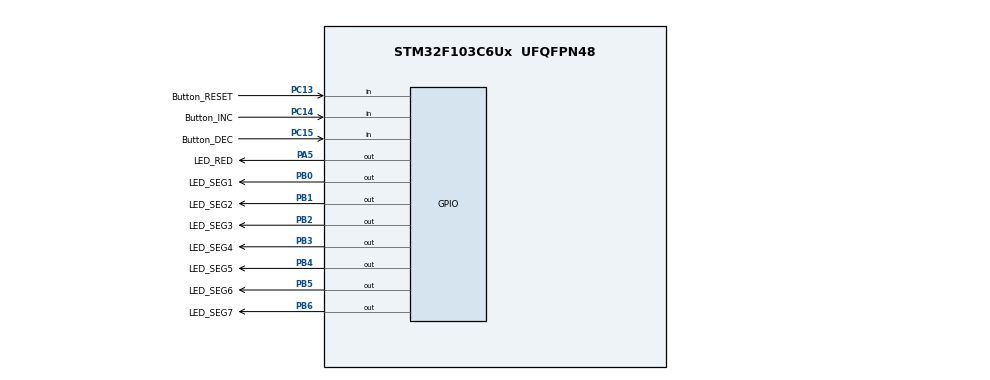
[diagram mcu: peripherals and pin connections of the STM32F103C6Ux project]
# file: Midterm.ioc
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Mcu.Family=STM32F1
Mcu.Name=STM32F103C6Ux
Mcu.Package=UFQFPN48
NVIC.PriorityGroup=NVIC_PRIORITYGROUP_4
NVIC.TIM2_IRQn=true\:0\:0\:false\:false\:true\:true\:true
PA5.GPIO_Label=LED_RED
PA5.Signal=GPIO_Output
PB0.GPIO_Label=LED_SEG1
PB0.Signal=GPIO_Output
PB1.GPIO_Label=LED_SEG2
PB1.Signal=GPIO_Output
PB2.GPIO_Label=LED_SEG3
PB2.Signal=GPIO_Output
PB3.GPIO_Label=LED_SEG4
PB3.Signal=GPIO_Output
PB4.GPIO_Label=LED_SEG5
PB4.Signal=GPIO_Output
PB5.GPIO_Label=LED_SEG6
PB5.Signal=GPIO_Output
PB6.GPIO_Label=LED_SEG7
PB6.Signal=GPIO_Output
PC13-TAMPER-RTC.GPIO_Label=Button_RESET
PC13-TAMPER-RTC.GPIO_PuPd=GPIO_PULLUP
PC13-TAMPER-RTC.Signal=GPIO_Input
PC14-OSC32_IN.GPIO_Label=Button_INC
PC14-OSC32_IN.GPIO_PuPd=GPIO_PULLUP
PC14-OSC32_IN.Signal=GPIO_Input
PC15-OSC32_OUT.GPIO_Label=Button_DEC
PC15-OSC32_OUT.GPIO_PuPd=GPIO_PULLUP
PC15-OSC32_OUT.Signal=GPIO_Input
ProjectManager.HeapSize=0x200
ProjectManager.StackSize=0x400
ProjectManager.TargetToolchain=STM32CubeIDE
RCC.APB1Freq_Value=8000000
RCC.APB2Freq_Value=8000000
TIM2.Period=9
TIM2.Prescaler=7999
VP_SYS_VS_ND.Mode=No_Debug
VP_TIM2_VS_ClockSourceINT.Mode=Internal
board=custom

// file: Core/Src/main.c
/* USER CODE BEGIN Header */
/**
  ******************************************************************************
  * @file           : main.c
  * @brief          : Main program body
  ******************************************************************************
  * @attention
  *
  * <h2><center>&copy; Copyright (c) 2022 STMicroelectronics.
  * All rights reserved.</center></h2>
  *
  * This software component is licensed by ST under BSD 3-Clause license,
  * the "License"; You may not use this file except in compliance with the
  * License. You may obtain a copy of the License at:
  *                        opensource.org/licenses/BSD-3-Clause
  *
  ******************************************************************************
  */
/* USER CODE END Header */
#include "main.h"

/* USER CODE BEGIN Includes */
#include "button.h"
#include "timer.h"
#include "fsm1.h"
#include "fsm_final.h"
/* USER CODE END Includes */

TIM_HandleTypeDef htim2;

void SystemClock_Config(void);
static void MX_GPIO_Init(void);
static void MX_TIM2_Init(void);

/* USER CODE BEGIN 0 */
void display7SEG(int num){
	if(num==0){
		HAL_GPIO_WritePin(LED_SEG1_GPIO_Port, LED_SEG1_Pin, 0);
		HAL_GPIO_WritePin(LED_SEG2_GPIO_Port, LED_SEG2_Pin, 0);
		HAL_GPIO_WritePin(LED_SEG3_GPIO_Port, LED_SEG3_Pin, 0);
		HAL_GPIO_WritePin(LED_SEG4_GPIO_Port, LED_SEG4_Pin, 0);
		HAL_GPIO_WritePin(LED_SEG5_GPIO_Port, LED_SEG5_Pin, 0);
		HAL_GPIO_WritePin(LED_SEG6_GPIO_Port, LED_SEG6_Pin, 0);
		HAL_GPIO_WritePin(LED_SEG7_GPIO_Port, LED_SEG7_Pin, 1);
	}
	if(num==1){
		HAL_GPIO_WritePin(LED_SEG1_GPIO_Port, LED_SEG1_Pin, 1);
		HAL_GPIO_WritePin(LED_SEG2_GPIO_Port, LED_SEG2_Pin, 0);
		HAL_GPIO_WritePin(LED_SEG3_GPIO_Port, LED_SEG3_Pin, 0);
		HAL_GPIO_WritePin(LED_SEG4_GPIO_Port, LED_SEG4_Pin, 1);
		HAL_GPIO_WritePin(LED_SEG5_GPIO_Port, LED_SEG5_Pin, 1);
		HAL_GPIO_WritePin(LED_SEG6_GPIO_Port, LED_SEG6_Pin, 1);
		HAL_GPIO_WritePin(LED_SEG7_GPIO_Port, LED_SEG7_Pin, 1);
	}
	if(num==2){
		HAL_GPIO_WritePin(LED_SEG1_GPIO_Port, LED_SEG1_Pin, 0);
		HAL_GPIO_WritePin(LED_SEG2_GPIO_Port, LED_SEG2_Pin, 0);
		HAL_GPIO_WritePin(LED_SEG3_GPIO_Port, LED_SEG3_Pin, 1);
		HAL_GPIO_WritePin(LED_SEG4_GPIO_Port, LED_SEG4_Pin, 0);
		HAL_GPIO_WritePin(LED_SEG5_GPIO_Port, LED_SEG5_Pin, 0);
		HAL_GPIO_WritePin(LED_SEG6_GPIO_Port, LED_SEG6_Pin, 1);
		HAL_GPIO_WritePin(LED_SEG7_GPIO_Port, LED_SEG7_Pin, 0);
	}
	if(num==3){
		HAL_GPIO_WritePin(LED_SEG1_GPIO_Port, LED_SEG1_Pin, 0);
		HAL_GPIO_WritePin(LED_SEG2_GPIO_Port, LED_SEG2_Pin, 0);
		HAL_GPIO_WritePin(LED_SEG3_GPIO_Port, LED_SEG3_Pin, 0);
		HAL_GPIO_WritePin(LED_SEG4_GPIO_Port, LED_SEG4_Pin, 0);
		HAL_GPIO_WritePin(LED_SEG5_GPIO_Port, LED_SEG5_Pin, 1);
		HAL_GPIO_WritePin(LED_SEG6_GPIO_Port, LED_SEG6_Pin, 1);
		HAL_GPIO_WritePin(LED_SEG7_GPIO_Port, LED_SEG7_Pin, 0);
	}
	if(num==4){
		HAL_GPIO_WritePin(LED_SEG1_GPIO_Port, LED_SEG1_Pin, 1);
		HAL_GPIO_WritePin(LED_SEG2_GPIO_Port, LED_SEG2_Pin, 0);
		HAL_GPIO_WritePin(LED_SEG3_GPIO_Port, LED_SEG3_Pin, 0);
		HAL_GPIO_WritePin(LED_SEG4_GPIO_Port, LED_SEG4_Pin, 1);
		HAL_GPIO_WritePin(LED_SEG5_GPIO_Port, LED_SEG5_Pin, 1);
		HAL_GPIO_WritePin(LED_SEG6_GPIO_Port, LED_SEG6_Pin, 0);
		HAL_GPIO_WritePin(LED_SEG7_GPIO_Port, LED_SEG7_Pin, 0);
	}
	if(num==5){
		HAL_GPIO_WritePin(LED_SEG1_GPIO_Port, LED_SEG1_Pin, 0);
		HAL_GPIO_WritePin(LED_SEG2_GPIO_Port, LED_SEG2_Pin, 1);
		HAL_GPIO_WritePin(LED_SEG3_GPIO_Port, LED_SEG3_Pin, 0);
		HAL_GPIO_WritePin(LED_SEG4_GPIO_Port, LED_SEG4_Pin, 0);
		HAL_GPIO_WritePin(LED_SEG5_GPIO_Port, LED_SEG5_Pin, 1);
		HAL_GPIO_WritePin(LED_SEG6_GPIO_Port, LED_SEG6_Pin, 0);
		HAL_GPIO_WritePin(LED_SEG7_GPIO_Port, LED_SEG7_Pin, 0);
	}
	if(num==6){
		HAL_GPIO_WritePin(LED_SEG1_GPIO_Port, LED_SEG1_Pin, 0);
		HAL_GPIO_WritePin(LED_SEG2_GPIO_Port, LED_SEG2_Pin, 1);
		HAL_GPIO_WritePin(LED_SEG3_GPIO_Port, LED_SEG3_Pin, 0);
		HAL_GPIO_WritePin(LED_SEG4_GPIO_Port, LED_SEG4_Pin, 0);
		HAL_GPIO_WritePin(LED_SEG5_GPIO_Port, LED_SEG5_Pin, 0);
		HAL_GPIO_WritePin(LED_SEG6_GPIO_Port, LED_SEG6_Pin, 0);
		HAL_GPIO_WritePin(LED_SEG7_GPIO_Port, LED_SEG7_Pin, 0);
	}
	if(num==7){
		HAL_GPIO_WritePin(LED_SEG1_GPIO_Port, LED_SEG1_Pin, 0);
		HAL_GPIO_WritePin(LED_SEG2_GPIO_Port, LED_SEG2_Pin, 0);
		HAL_GPIO_WritePin(LED_SEG3_GPIO_Port, LED_SEG3_Pin, 0);
		HAL_GPIO_WritePin(LED_SEG4_GPIO_Port, LED_SEG4_Pin, 1);
		HAL_GPIO_WritePin(LED_SEG5_GPIO_Port, LED_SEG5_Pin, 1);
		HAL_GPIO_WritePin(LED_SEG6_GPIO_Port, LED_SEG6_Pin, 1);
		HAL_GPIO_WritePin(LED_SEG7_GPIO_Port, LED_SEG7_Pin, 1);
	}
	if(num==8){
		HAL_GPIO_WritePin(LED_SEG1_GPIO_Port, LED_SEG1_Pin, 0);
		HAL_GPIO_WritePin(LED_SEG2_GPIO_Port, LED_SEG2_Pin, 0);
		HAL_GPIO_WritePin(LED_SEG3_GPIO_Port, LED_SEG3_Pin, 0);
		HAL_GPIO_WritePin(LED_SEG4_GPIO_Port, LED_SEG4_Pin, 0);
		HAL_GPIO_WritePin(LED_SEG5_GPIO_Port, LED_SEG5_Pin, 0);
		HAL_GPIO_WritePin(LED_SEG6_GPIO_Port, LED_SEG6_Pin, 0);
		HAL_GPIO_WritePin(LED_SEG7_GPIO_Port, LED_SEG7_Pin, 0);
	}
	if(num==9){
		HAL_GPIO_WritePin(LED_SEG1_GPIO_Port, LED_SEG1_Pin, 0);
		HAL_GPIO_WritePin(LED_SEG2_GPIO_Port, LED_SEG2_Pin, 0);
		HAL_GPIO_WritePin(LED_SEG3_GPIO_Port, LED_SEG3_Pin, 0);
		HAL_GPIO_WritePin(LED_SEG4_GPIO_Port, LED_SEG4_Pin, 0);
		HAL_GPIO_WritePin(LED_SEG5_GPIO_Port, LED_SEG5_Pin, 1);
		HAL_GPIO_WritePin(LED_SEG6_GPIO_Port, LED_SEG6_Pin, 0);
		HAL_GPIO_WritePin(LED_SEG7_GPIO_Port, LED_SEG7_Pin, 0);
	}
}

/* USER CODE END 0 */

int main(void)
{

  /* MCU Configuration--------------------------------------------------------*/

  /* Reset of all peripherals, Initializes the Flash interface and the Systick. */
  HAL_Init();

  /* Configure the system clock */
  SystemClock_Config();

  /* Initialize all configured peripherals */
  MX_GPIO_Init();
  MX_TIM2_Init();
  /* USER CODE BEGIN 2 */
  HAL_TIM_Base_Start_IT(&htim2);
  /* USER CODE END 2 */

  /* Infinite loop */
  /* USER CODE BEGIN WHILE */
  setTimer1(100);
  setTimer2(100);
  while (1)
  {
	  if(timer1_flag==1){
		  HAL_GPIO_TogglePin(LED_RED_GPIO_Port, LED_RED_Pin);

		  setTimer1(100);

	  }

	 fsm_simple_buttons_run();

//	  fsm_final_state();

    /* USER CODE END WHILE */

  }
}

void SystemClock_Config(void)
{
  RCC_OscInitTypeDef RCC_OscInitStruct = {0};
  RCC_ClkInitTypeDef RCC_ClkInitStruct = {0};

  /** Initializes the RCC Oscillators according to the specified parameters
  * in the RCC_OscInitTypeDef structure.
  */
  RCC_OscInitStruct.OscillatorType = RCC_OSCILLATORTYPE_HSI;
  RCC_OscInitStruct.HSIState = RCC_HSI_ON;
  RCC_OscInitStruct.HSICalibrationValue = RCC_HSICALIBRATION_DEFAULT;
  RCC_OscInitStruct.PLL.PLLState = RCC_PLL_NONE;
  if (HAL_RCC_OscConfig(&RCC_OscInitStruct) != HAL_OK)
  {
    Error_Handler();
  }
  /** Initializes the CPU, AHB and APB buses clocks
  */
  RCC_ClkInitStruct.ClockType = RCC_CLOCKTYPE_HCLK|RCC_CLOCKTYPE_SYSCLK
                              |RCC_CLOCKTYPE_PCLK1|RCC_CLOCKTYPE_PCLK2;
  RCC_ClkInitStruct.SYSCLKSource = RCC_SYSCLKSOURCE_HSI;
  RCC_ClkInitStruct.AHBCLKDivider = RCC_SYSCLK_DIV1;
  RCC_ClkInitStruct.APB1CLKDivider = RCC_HCLK_DIV1;
  RCC_ClkInitStruct.APB2CLKDivider = RCC_HCLK_DIV1;

  if (HAL_RCC_ClockConfig(&RCC_ClkInitStruct, FLASH_LATENCY_0) != HAL_OK)
  {
    Error_Handler();
  }
}

static void MX_TIM2_Init(void)
{

  TIM_ClockConfigTypeDef sClockSourceConfig = {0};
  TIM_MasterConfigTypeDef sMasterConfig = {0};

  htim2.Instance = TIM2;
  htim2.Init.Prescaler = 7999;
  htim2.Init.CounterMode = TIM_COUNTERMODE_UP;
  htim2.Init.Period = 9;
  htim2.Init.ClockDivision = TIM_CLOCKDIVISION_DIV1;
  htim2.Init.AutoReloadPreload = TIM_AUTORELOAD_PRELOAD_DISABLE;
  if (HAL_TIM_Base_Init(&htim2) != HAL_OK)
  {
    Error_Handler();
  }
  sClockSourceConfig.ClockSource = TIM_CLOCKSOURCE_INTERNAL;
  if (HAL_TIM_ConfigClockSource(&htim2, &sClockSourceConfig) != HAL_OK)
  {
    Error_Handler();
  }
  sMasterConfig.MasterOutputTrigger = TIM_TRGO_RESET;
  sMasterConfig.MasterSlaveMode = TIM_MASTERSLAVEMODE_DISABLE;
  if (HAL_TIMEx_MasterConfigSynchronization(&htim2, &sMasterConfig) != HAL_OK)
  {
    Error_Handler();
  }

}

static void MX_GPIO_Init(void)
{
  GPIO_InitTypeDef GPIO_InitStruct = {0};

  /* GPIO Ports Clock Enable */
  __HAL_RCC_GPIOC_CLK_ENABLE();
  __HAL_RCC_GPIOA_CLK_ENABLE();
  __HAL_RCC_GPIOB_CLK_ENABLE();

  /*Configure GPIO pin Output Level */
  HAL_GPIO_WritePin(LED_RED_GPIO_Port, LED_RED_Pin, GPIO_PIN_RESET);

  /*Configure GPIO pin Output Level */
  HAL_GPIO_WritePin(GPIOB, LED_SEG1_Pin|LED_SEG2_Pin|LED_SEG3_Pin|LED_SEG4_Pin
                          |LED_SEG5_Pin|LED_SEG6_Pin|LED_SEG7_Pin, GPIO_PIN_RESET);

  /*Configure GPIO pins : Button_RESET_Pin Button_INC_Pin Button_DEC_Pin */
  GPIO_InitStruct.Pin = Button_RESET_Pin|Button_INC_Pin|Button_DEC_Pin;
  GPIO_InitStruct.Mode = GPIO_MODE_INPUT;
  GPIO_InitStruct.Pull = GPIO_PULLUP;
  HAL_GPIO_Init(GPIOC, &GPIO_InitStruct);

  /*Configure GPIO pin : LED_RED_Pin */
  GPIO_InitStruct.Pin = LED_RED_Pin;
  GPIO_InitStruct.Mode = GPIO_MODE_OUTPUT_PP;
  GPIO_InitStruct.Pull = GPIO_NOPULL;
  GPIO_InitStruct.Speed = GPIO_SPEED_FREQ_LOW;
  HAL_GPIO_Init(LED_RED_GPIO_Port, &GPIO_InitStruct);

  /*Configure GPIO pins : LED_SEG1_Pin LED_SEG2_Pin LED_SEG3_Pin LED_SEG4_Pin
                           LED_SEG5_Pin LED_SEG6_Pin LED_SEG7_Pin */
  GPIO_InitStruct.Pin = LED_SEG1_Pin|LED_SEG2_Pin|LED_SEG3_Pin|LED_SEG4_Pin
                          |LED_SEG5_Pin|LED_SEG6_Pin|LED_SEG7_Pin;
  GPIO_InitStruct.Mode = GPIO_MODE_OUTPUT_PP;
  GPIO_InitStruct.Pull = GPIO_NOPULL;
  GPIO_InitStruct.Speed = GPIO_SPEED_FREQ_LOW;
  HAL_GPIO_Init(GPIOB, &GPIO_InitStruct);

}

/* USER CODE BEGIN 4 */
void HAL_TIM_PeriodElapsedCallback(TIM_HandleTypeDef *htim){
	timerRun();
	getkeyInput();
}
/* USER CODE END 4 */

void Error_Handler(void)
{
  __disable_irq();
  while (1)
  {
  }
}

/************************ (C) COPYRIGHT STMicroelectronics *****END OF FILE****/
